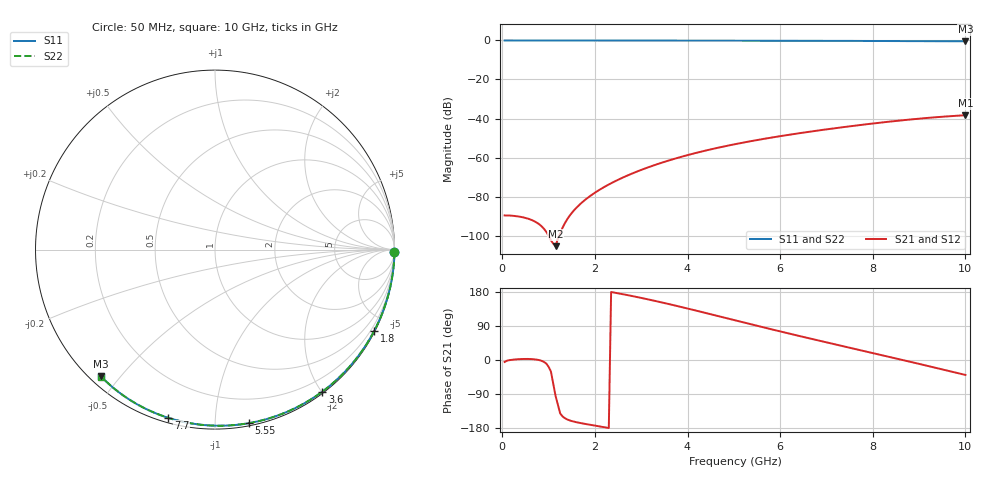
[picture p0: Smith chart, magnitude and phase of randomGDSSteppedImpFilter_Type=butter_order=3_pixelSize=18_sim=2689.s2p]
! freq	dB(S11)	phase(S11)	dB(S12)	phase(S12)
!  dB(S21)	phase(S21)	dB(S22)	phase(S22)
!S-par simulation data
#  GHz  S  DB  R 50
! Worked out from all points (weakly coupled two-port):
!   200 points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, 50 MHz to 10 GHz, reference 50 ohm
!   highest |S21| = -38.32 dB at 10 GHz (marker M1); lowest = -105.4 dB at 1.15 GHz (marker M2)
!   lowest |S11| = -0.4 dB at 10 GHz (marker M3), VSWR 39.05, Z = 1.53 - j22.2 ohm
!   |S11| at or under -10 dB: nowhere
!   |S22| runs from -0.4 to 0.0 dB; largest |S21 - S12| = 0
!   S11 on the Smith chart (normalised r, x): 50 MHz: open; 1.8 GHz: 0.04, -4.15; 3.6 GHz: 0.02, -2.01; 5.55 GHz: 0.02, -1.21; 7.7 GHz: 0.02, -0.76; 10 GHz: 0.03, -0.44
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0.05  -0.00 -0.8  -89.65 -5.1  -89.65 -5.1  -0.00 -0.8
0.6  -0.01 -9.1  -91.68 2.6  -91.68 2.6  -0.01 -9.1
1.15  -0.02 -17.4  -105.41 -94.6  -105.41 -94.6  -0.02 -17.4
1.75  -0.03 -26.3  -82.42 -167.8  -82.42 -167.8  -0.03 -26.3
1.8  -0.03 -27.1  -81.44 -168.9  -81.44 -168.9  -0.03 -27.0
1.85  -0.04 -27.8  -80.52 -170.0  -80.52 -170.0  -0.04 -27.7
1.9  -0.04 -28.5  -79.65 -171.1  -79.65 -171.1  -0.04 -28.5
2.05  -0.04 -30.7  -77.24 -174.2  -77.24 -174.2  -0.04 -30.7
2.25  -0.04 -33.7  -74.43 -178.4  -74.43 -178.4  -0.04 -33.6
2.65  -0.05 -39.5  -69.74 172.5  -69.74 172.5  -0.05 -39.4
3  -0.06 -44.5  -66.33 163.9  -66.33 163.9  -0.06 -44.4
3.4  -0.07 -50.1  -62.97 153.2  -62.97 153.2  -0.07 -50.0
3.6  -0.07 -52.9  -61.47 147.5  -61.47 147.5  -0.07 -52.8
4.3  -0.09 -62.5  -56.94 126.9  -56.94 126.9  -0.09 -62.4
5.05  -0.11 -72.5  -53.03 104.0  -53.03 104.0  -0.11 -72.4
5.55  -0.13 -79.0  -50.82 88.9  -50.82 88.9  -0.13 -78.9
6.1  -0.15 -86.0  -48.66 72.5  -48.66 72.5  -0.15 -85.8
6.7  -0.18 -93.5  -46.54 55.1  -46.54 55.1  -0.18 -93.3
7.7  -0.24 -105.5  -43.41 26.8  -43.41 26.8  -0.24 -105.3
8.35  -0.29 -113.2  -41.62 8.5  -41.62 8.5  -0.29 -112.9
9.2  -0.36 -123.0  -39.65 -16.0  -39.65 -16.0  -0.36 -122.7
10  -0.44 -132.1  -38.32 -39.4  -38.32 -39.4  -0.44 -131.7
